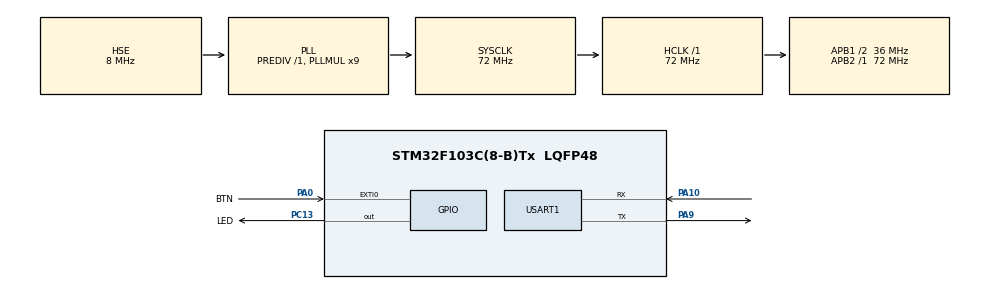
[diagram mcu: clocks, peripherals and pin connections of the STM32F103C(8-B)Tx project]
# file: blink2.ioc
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Mcu.Family=STM32F1
Mcu.Name=STM32F103C(8-B)Tx
Mcu.Package=LQFP48
NVIC.EXTI0_IRQn=true\:0\:0\:false\:false\:true\:true\:true\:true
NVIC.PriorityGroup=NVIC_PRIORITYGROUP_4
PA0-WKUP.GPIO_Label=BTN
PA0-WKUP.Signal=GPXTI0
PA10.Mode=Asynchronous
PA10.Signal=USART1_RX
PA13.Mode=Serial_Wire
PA13.Signal=SYS_JTMS-SWDIO
PA14.Mode=Serial_Wire
PA14.Signal=SYS_JTCK-SWCLK
PA9.Mode=Asynchronous
PA9.Signal=USART1_TX
PC13-TAMPER-RTC.GPIO_Label=LED
PC13-TAMPER-RTC.Signal=GPIO_Output
PD0-OSC_IN.Mode=HSE-External-Oscillator
PD0-OSC_IN.Signal=RCC_OSC_IN
PD1-OSC_OUT.Mode=HSE-External-Oscillator
PD1-OSC_OUT.Signal=RCC_OSC_OUT
ProjectManager.HeapSize=0x200
ProjectManager.StackSize=0x400
ProjectManager.TargetToolchain=STM32CubeIDE
RCC.AHBFreq_Value=72000000
RCC.APB1CLKDivider=RCC_HCLK_DIV2
RCC.APB1Freq_Value=36000000
RCC.APB1TimFreq_Value=72000000
RCC.APB2Freq_Value=72000000
RCC.APB2TimFreq_Value=72000000
RCC.HCLKFreq_Value=72000000
RCC.PLLMUL=RCC_PLL_MUL9
RCC.PLLSourceVirtual=RCC_PLLSOURCE_HSE
RCC.SYSCLKFreq_VALUE=72000000
RCC.SYSCLKSource=RCC_SYSCLKSOURCE_PLLCLK
RCC.USBFreq_Value=72000000
USART1.VirtualMode=VM_ASYNC
board=custom

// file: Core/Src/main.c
/* USER CODE BEGIN Header */
/**
  ******************************************************************************
  * @file           : main.c
  * @brief          : Main program body
  ******************************************************************************
  * @attention
  *
  * Copyright (c) 2026 STMicroelectronics.
  * All rights reserved.
  *
  * This software is licensed under terms that can be found in the LICENSE file
  * in the root directory of this software component.
  * If no LICENSE file comes with this software, it is provided AS-IS.
  *
  ******************************************************************************
  */
/* USER CODE END Header */
#include "main.h"

/* USER CODE BEGIN Includes */
#include "stdio.h"
/* USER CODE END Includes */

UART_HandleTypeDef huart1;

/* USER CODE BEGIN PV */
uint32_t blink_count = 0;
uint32_t tick_count = 0;
uint32_t loop_count = 0;
uint32_t current_now_time = 0;

/* USER CODE END PV */

void SystemClock_Config(void);
static void MX_GPIO_Init(void);
static void MX_USART1_UART_Init(void);

/* USER CODE BEGIN 0 */

int _write(int fd, char* ptr, int len){
    HAL_StatusTypeDef hstatus;
    if(fd == 1 || fd ==2){
        hstatus = HAL_UART_Transmit(&huart1, (uint8_t *)ptr, len, HAL_MAX_DELAY);
        if (hstatus == HAL_OK)
            return len;
        else
            return -1;
    }
    return -1;
}

/* USER CODE END 0 */

int main(void)
{

  /* MCU Configuration--------------------------------------------------------*/

  /* Reset of all peripherals, Initializes the Flash interface and the Systick. */
  HAL_Init();

  /* Configure the system clock */
  SystemClock_Config();

  /* Initialize all configured peripherals */
  MX_GPIO_Init();
  MX_USART1_UART_Init();
  /* USER CODE BEGIN 2 */

  printf("blink2 starting ...");

  /* USER CODE END 2 */

  /* Infinite loop */
  /* USER CODE BEGIN WHILE */

  uint32_t now = 0, last_blink = 0, last_tick = 0;
  while (1)
  {
      now = HAL_GetTick();
      current_now_time = now;

      if (now - last_blink >= 500){

          blink_count++;

          printf("Toggling GPIO\n");

          HAL_GPIO_TogglePin(LED_GPIO_Port, LED_Pin);

          last_blink = now;
      }

      if (now - last_tick >= 1000){

          tick_count++;

          printf("Tick %lu\n",now);

          loop_count = 0;

          last_tick = now;
      }
    /* USER CODE END WHILE */

  }
}

void SystemClock_Config(void)
{
  RCC_OscInitTypeDef RCC_OscInitStruct = {0};
  RCC_ClkInitTypeDef RCC_ClkInitStruct = {0};

  /** Initializes the RCC Oscillators according to the specified parameters
  * in the RCC_OscInitTypeDef structure.
  */
  RCC_OscInitStruct.OscillatorType = RCC_OSCILLATORTYPE_HSE;
  RCC_OscInitStruct.HSEState = RCC_HSE_ON;
  RCC_OscInitStruct.HSEPredivValue = RCC_HSE_PREDIV_DIV1;
  RCC_OscInitStruct.HSIState = RCC_HSI_ON;
  RCC_OscInitStruct.PLL.PLLState = RCC_PLL_ON;
  RCC_OscInitStruct.PLL.PLLSource = RCC_PLLSOURCE_HSE;
  RCC_OscInitStruct.PLL.PLLMUL = RCC_PLL_MUL9;
  if (HAL_RCC_OscConfig(&RCC_OscInitStruct) != HAL_OK)
  {
    Error_Handler();
  }

  /** Initializes the CPU, AHB and APB buses clocks
  */
  RCC_ClkInitStruct.ClockType = RCC_CLOCKTYPE_HCLK|RCC_CLOCKTYPE_SYSCLK
                              |RCC_CLOCKTYPE_PCLK1|RCC_CLOCKTYPE_PCLK2;
  RCC_ClkInitStruct.SYSCLKSource = RCC_SYSCLKSOURCE_PLLCLK;
  RCC_ClkInitStruct.AHBCLKDivider = RCC_SYSCLK_DIV1;
  RCC_ClkInitStruct.APB1CLKDivider = RCC_HCLK_DIV2;
  RCC_ClkInitStruct.APB2CLKDivider = RCC_HCLK_DIV1;

  if (HAL_RCC_ClockConfig(&RCC_ClkInitStruct, FLASH_LATENCY_2) != HAL_OK)
  {
    Error_Handler();
  }
}

static void MX_USART1_UART_Init(void)
{

  huart1.Instance = USART1;
  huart1.Init.BaudRate = 115200;
  huart1.Init.WordLength = UART_WORDLENGTH_8B;
  huart1.Init.StopBits = UART_STOPBITS_1;
  huart1.Init.Parity = UART_PARITY_NONE;
  huart1.Init.Mode = UART_MODE_TX_RX;
  huart1.Init.HwFlowCtl = UART_HWCONTROL_NONE;
  huart1.Init.OverSampling = UART_OVERSAMPLING_16;
  if (HAL_UART_Init(&huart1) != HAL_OK)
  {
    Error_Handler();
  }

}

static void MX_GPIO_Init(void)
{
  GPIO_InitTypeDef GPIO_InitStruct = {0};

  /* GPIO Ports Clock Enable */
  __HAL_RCC_GPIOC_CLK_ENABLE();
  __HAL_RCC_GPIOD_CLK_ENABLE();
  __HAL_RCC_GPIOA_CLK_ENABLE();

  /*Configure GPIO pin Output Level */
  HAL_GPIO_WritePin(LED_GPIO_Port, LED_Pin, GPIO_PIN_RESET);

  /*Configure GPIO pin : LED_Pin */
  GPIO_InitStruct.Pin = LED_Pin;
  GPIO_InitStruct.Mode = GPIO_MODE_OUTPUT_PP;
  GPIO_InitStruct.Pull = GPIO_NOPULL;
  GPIO_InitStruct.Speed = GPIO_SPEED_FREQ_LOW;
  HAL_GPIO_Init(LED_GPIO_Port, &GPIO_InitStruct);

  /*Configure GPIO pin : BTN_Pin */
  GPIO_InitStruct.Pin = BTN_Pin;
  GPIO_InitStruct.Mode = GPIO_MODE_IT_RISING;
  GPIO_InitStruct.Pull = GPIO_NOPULL;
  HAL_GPIO_Init(BTN_GPIO_Port, &GPIO_InitStruct);

  /* EXTI interrupt init*/
  HAL_NVIC_SetPriority(EXTI0_IRQn, 0, 0);
  HAL_NVIC_EnableIRQ(EXTI0_IRQn);

}

void Error_Handler(void)
{
  __disable_irq();
  while (1)
  {
  }
}
